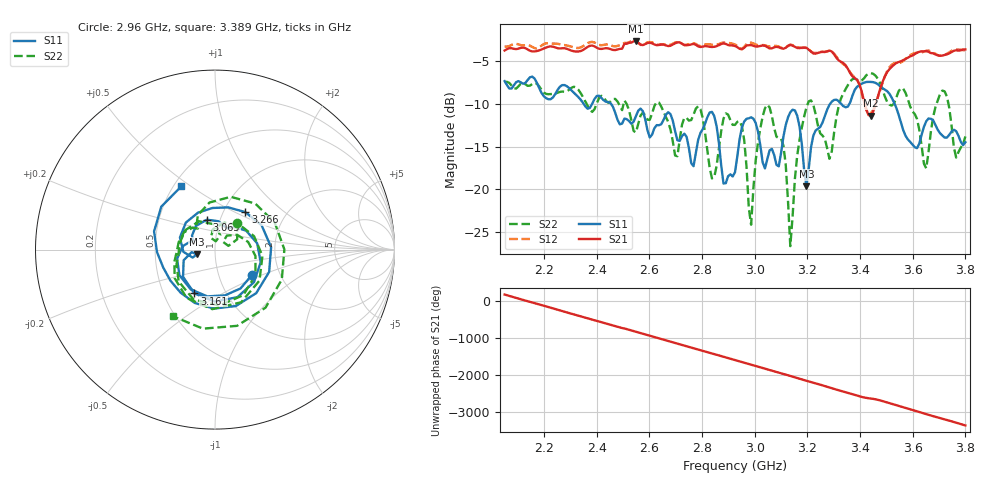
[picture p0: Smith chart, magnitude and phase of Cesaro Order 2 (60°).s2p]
! 1/7/2014 6:17:14 PM
! C:\USERS\VECTORSTARUSER\DESKTOP\GABRIEL SMS\60GRAUSORDEM2.S2P
! CHANNEL.1
! TR.MEASUREMENT
! RAW.DATA
# GHZ S RI R 50.0
! FREQ.GHZ  S11RE  S11IM  S21RE  S21IM  S12RE  S12IM  S22RE  S22IM
!; PortSelection: Port_12
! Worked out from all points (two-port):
!   201 points, 2.05 GHz to 3.8 GHz, reference 50 ohm
!   highest |S21| = -2.64 dB at 2.549 GHz (marker M1); lowest = -11.4 dB at 3.441 GHz (marker M2)
!   |S21| within 3 dB of the highest: start of sweep to 3.348 GHz; 3.521 GHz to end of sweep
!   lowest |S11| = -19.6 dB at 3.196 GHz (marker M3), VSWR 1.23, Z = 40.8 - j2.16 ohm
!   |S11| at or under -10 dB: 2.351 GHz to 2.382 GHz (31.53 MHz wide, 1.33 % of centre); 2.455 GHz to 3.286 GHz (831.4 MHz wide, 29 % of centre); 3.531 GHz to end of sweep (the widest 3 of 4)
!   |S22| runs from -26.6 to -6.4 dB; largest |S21 - S12| = 0.18
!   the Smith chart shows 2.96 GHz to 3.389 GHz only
!   S11 on the Smith chart (normalised r, x): 2.96 GHz: 1.45, -0.43; 3.065 GHz: 0.87, +0.30; 3.161 GHz: 0.71, -0.38; 3.266 GHz: 1.26, +0.57; 3.389 GHz: 0.55, +0.46
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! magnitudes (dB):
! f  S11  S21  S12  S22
! 2.05 GHz  -7.3  -3.7  -3.3  -7.5
! 2.348 GHz  -9.9  -3.7  -3.2  -9.2
! 2.549 GHz  -11.4  -2.6  -2.6  -13.3
! 2.636 GHz  -12.5  -3.1  -3.1  -9.8
! 2.706 GHz  -14.2  -2.8  -2.8  -16.1
! 2.794 GHz  -13.4  -3.3  -3.2  -10.6
! 2.838 GHz  -10.9  -3.3  -3.1  -18.7
! 2.925 GHz  -18.0  -3.2  -3.0  -12.4
! 2.96 GHz  -12.0  -3.4  -3.3  -14.2
! 2.986 GHz  -11.6  -3.1  -2.8  -24.1
! 3.065 GHz  -15.3  -3.5  -3.3  -11.4
! 3.109 GHz  -13.9  -3.5  -3.5  -14.9
! 3.135 GHz  -11.0  -3.1  -3.0  -26.6
! 3.161 GHz  -11.4  -3.4  -3.3  -16.1
! 3.196 GHz  -19.6  -3.4  -3.4  -10.4
! 3.223 GHz  -13.7  -4.1  -4.0  -10.1
! 3.266 GHz  -11.4  -3.9  -3.9  -14.1
! 3.389 GHz  -8.0  -7.2  -7.1  -7.2
! 3.441 GHz  -7.4  -11.4  -11.1  -6.4
! 3.511 GHz  -8.8  -5.9  -5.7  -10.1
! 3.651 GHz  -12.0  -3.8  -3.8  -17.5
! 3.8 GHz  -14.5  -3.6  -3.7  -13.8
